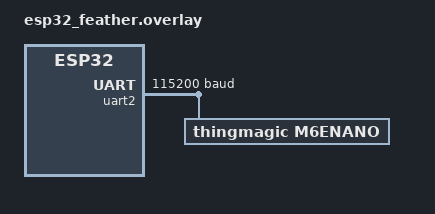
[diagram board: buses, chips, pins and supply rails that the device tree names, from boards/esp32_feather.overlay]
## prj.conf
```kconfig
# Enable custom device driver
# CONFIG_NATIVE_UART_0_ON_STDINOUT=y
# CONFIG_UART_NATIVE_TTY=y
CONFIG_UART_INTERRUPT_DRIVEN=y
CONFIG_M6E_NANO=y

# Logging
CONFIG_SHELL=y
CONFIG_LOG=y
# CONFIG_SHELL_BACKEND_SERIAL=y
# CONFIG_SHELL_BACKEND_SERIAL_API_POLLING=y
# CONFIG_SHELL_LOG_BACKEND=n
```

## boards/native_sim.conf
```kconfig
CONFIG_NATIVE_UART_0_ON_STDINOUT=y
CONFIG_UART_NATIVE_TTY=y
CONFIG_SHELL_BACKEND_SERIAL_API_POLLING=y
```

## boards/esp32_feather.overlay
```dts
&uart2 {
    status = "okay";
    current-speed = <115200>;
    pinctrl-names = "default";
    m6enano {
        compatible = "thingmagic,m6enano";
    };
};

&pinctrl {
    uart2_default: uart2_default {
        group1 {
            pinmux = <UART2_TX_GPIO16>; // required for UART tx/rx swap
        };
        group2 {
            pinmux = <UART2_RX_GPIO17>; // required for UART tx/rx swap
            bias-pull-up;
        };
    };
};
```

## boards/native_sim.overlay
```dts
/ {

	uart2: uart2 {
		status = "okay";
		compatible = "zephyr,native-tty-uart";
		current-speed = <115200>;
		serial-port = "/dev/ttyUSB1";
        m6enano {
            compatible = "thingmagic,m6enano";
        };
	};
};
```

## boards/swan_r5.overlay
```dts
&usart1 {
    status = "okay";
    current-speed = <115200>;
    tx-rx-swap;
    pinctrl-names = "default";
    pinctrl-0 = <&usart1_tx_pa9 &usart1_rx_pa10>;
    m6enano {
        compatible = "thingmagic,m6enano";
    };
};

// / {
//     usart1: usart1 {
//         status = "okay";
//         current-speed = <115200>;
//         tx-rx-swap;
//         pinctrl-names = "default";
//         pinctrl-0 = <&usart1_tx_pa9 &usart1_rx_pa10>;
//         m6enano {
//             compatible = "thingmagic,m6enano";
//         };
//     };
// };
```

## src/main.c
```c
#include <zephyr/kernel.h>
#include <zephyr/drivers/uart.h>
#include <stdio.h>
#include <string.h>
#include <zephyr/shell/shell.h>

#include <m6e_nano.h>


const struct device *dev = DEVICE_DT_GET_ONE(thingmagic_m6enano);

int main(void)
{

	m6e_nano_stop_reading(dev);
    m6e_nano_set_baud(dev, 115200);

	return 0;
}

static int cmd_test_version(const struct shell *sh, size_t argc, char **argv)
{
	ARG_UNUSED(argc);
	ARG_UNUSED(argv);

    if(m6e_nano_get_version(dev)) {
        shell_print(sh, "Error getting version");
        return ENODATA;
    } else {	
        struct m6e_nano_data *data = (struct m6e_nano_data *)dev->data;
        uint8_t *msg = data->response.data;
        shell_print(sh, "v%d.%d.%d", msg[0], msg[1], msg[2]);
        return 0;
    }
}

static int cmd_test_ping(const struct shell *sh, size_t argc, char **argv)
{
	ARG_UNUSED(argc);
	ARG_UNUSED(argv);

	shell_print(sh, "pong");

	return 0;
}

static int cmd_test_params(const struct shell *sh, size_t argc,
                           char **argv)
{
        int cnt;

        shell_print(sh, "argc = %d", argc);
        for (cnt = 0; cnt < argc; cnt++) {
                shell_print(sh, "  argv[%d] = %s", cnt, argv[cnt]);
        }
        return 0;
}

/* Creating subcommands (level 1 command) array for command "test". */
SHELL_STATIC_SUBCMD_SET_CREATE(sub_test,
        SHELL_CMD(params, NULL, "Print params command.",
                                               cmd_test_params),
        SHELL_CMD(ping,   NULL, "Ping command.", cmd_test_ping),
        SHELL_CMD(version,   NULL, "Version command.", cmd_test_version),

        SHELL_SUBCMD_SET_END
);
/* Creating root (level 0) command "test" without a handler */
SHELL_CMD_REGISTER(test, &sub_test, "Test commands", NULL);
```
